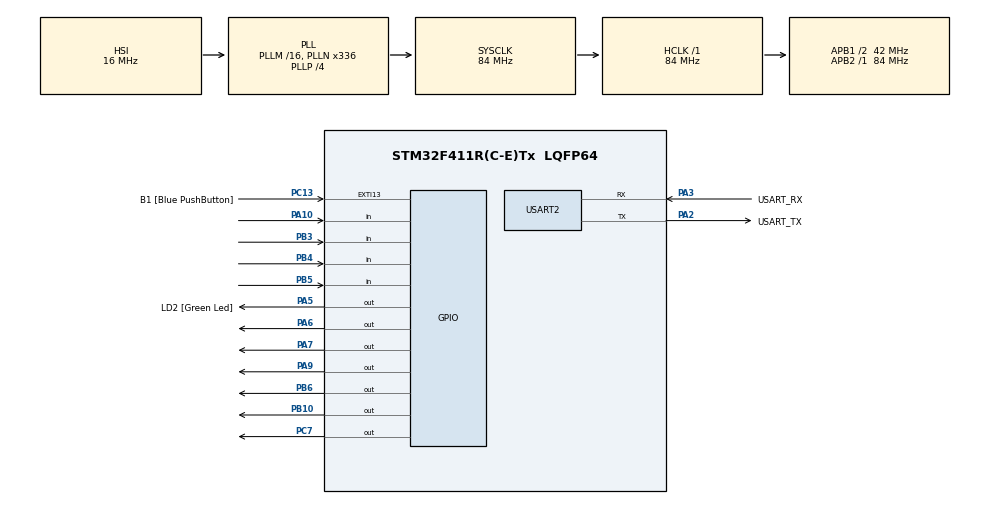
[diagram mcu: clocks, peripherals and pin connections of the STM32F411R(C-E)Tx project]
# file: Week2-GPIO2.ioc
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Mcu.Family=STM32F4
Mcu.Name=STM32F411R(C-E)Tx
Mcu.Package=LQFP64
NVIC.PriorityGroup=NVIC_PRIORITYGROUP_0
PA10.GPIO_PuPd=GPIO_PULLUP
PA10.Signal=GPIO_Input
PA13.GPIO_Label=TMS
PA13.Mode=Serial_Wire
PA13.Signal=SYS_JTMS-SWDIO
PA14.GPIO_Label=TCK
PA14.Mode=Serial_Wire
PA14.Signal=SYS_JTCK-SWCLK
PA2.GPIO_Label=USART_TX
PA2.Mode=Asynchronous
PA2.Signal=USART2_TX
PA3.GPIO_Label=USART_RX
PA3.Mode=Asynchronous
PA3.Signal=USART2_RX
PA5.GPIO_Label=LD2 [Green Led]
PA5.Signal=GPIO_Output
PA6.Signal=GPIO_Output
PA7.GPIO_ModeDefaultOutputPP=GPIO_MODE_OUTPUT_OD
PA7.PinState=GPIO_PIN_SET
PA7.Signal=GPIO_Output
PA9.GPIO_ModeDefaultOutputPP=GPIO_MODE_OUTPUT_OD
PA9.PinState=GPIO_PIN_SET
PA9.Signal=GPIO_Output
PB10.PinState=GPIO_PIN_SET
PB10.Signal=GPIO_Output
PB3.GPIO_PuPd=GPIO_PULLUP
PB3.Signal=GPIO_Input
PB4.GPIO_PuPd=GPIO_PULLUP
PB4.Signal=GPIO_Input
PB5.GPIO_PuPd=GPIO_PULLUP
PB5.Signal=GPIO_Input
PB6.GPIO_ModeDefaultOutputPP=GPIO_MODE_OUTPUT_OD
PB6.PinState=GPIO_PIN_SET
PB6.Signal=GPIO_Output
PC13-ANTI_TAMP.GPIO_Label=B1 [Blue PushButton]
PC13-ANTI_TAMP.GPIO_ModeDefaultEXTI=GPIO_MODE_IT_FALLING
PC13-ANTI_TAMP.Signal=GPXTI13
PC14-OSC32_IN.Mode=LSE-External-Oscillator
PC14-OSC32_IN.Signal=RCC_OSC32_IN
PC15-OSC32_OUT.Mode=LSE-External-Oscillator
PC15-OSC32_OUT.Signal=RCC_OSC32_OUT
PC7.GPIO_ModeDefaultOutputPP=GPIO_MODE_OUTPUT_OD
PC7.PinState=GPIO_PIN_SET
PC7.Signal=GPIO_Output
PH0\ -\ OSC_IN.Mode=HSE-External-Clock-Source
PH0\ -\ OSC_IN.Signal=RCC_OSC_IN
PH1\ -\ OSC_OUT.Mode=HSE-External-Clock-Source
PH1\ -\ OSC_OUT.Signal=RCC_OSC_OUT
ProjectManager.HeapSize=0x200
ProjectManager.StackSize=0x400
ProjectManager.TargetToolchain=STM32CubeIDE
RCC.48MHZClocksFreq_Value=84000000
RCC.AHBFreq_Value=84000000
RCC.APB1CLKDivider=RCC_HCLK_DIV2
RCC.APB1Freq_Value=42000000
RCC.APB1TimFreq_Value=84000000
RCC.APB2Freq_Value=84000000
RCC.APB2TimFreq_Value=84000000
RCC.CortexFreq_Value=84000000
RCC.FLatency-AdvancedSettings=FLASH_LATENCY_2
RCC.HCLKFreq_Value=84000000
RCC.HSE_VALUE=8000000
RCC.HSI_VALUE=16000000
RCC.PLLN=336
RCC.PLLP=RCC_PLLP_DIV4
RCC.SYSCLKFreq_VALUE=84000000
RCC.SYSCLKSource=RCC_SYSCLKSOURCE_PLLCLK
RCC.VCOOutputFreq_Value=336000000
USART2.VirtualMode=VM_ASYNC
board=NUCLEO-F411RE

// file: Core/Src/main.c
/* USER CODE BEGIN Header */
/**
  ******************************************************************************
  * @file           : main.c
  * @brief          : Main program body
  ******************************************************************************
  * @attention
  *
  * <h2><center>&copy; Copyright (c) 2021 STMicroelectronics.
  * All rights reserved.</center></h2>
  *
  * This software component is licensed by ST under BSD 3-Clause license,
  * the "License"; You may not use this file except in compliance with the
  * License. You may obtain a copy of the License at:
  *                        opensource.org/licenses/BSD-3-Clause
  *
  ******************************************************************************
  */
/* USER CODE END Header */
#include "main.h"

UART_HandleTypeDef huart2;

/* USER CODE BEGIN PV */
//save status of Button Matrix
uint16_t ButtonMatrixState = 0;
uint32_t ButtonMatrixTimestamp = 0;
uint32_t delay = 0;
int IdStudent[] = {64,512,1024,16,4096,32,4096,4096,4096,16,1}; //[6,2,3,4,0,5,0,0,0,4,7]
int CountPress = 0;
int Status = 1;
  //StatusLed
/* USER CODE END PV */

void SystemClock_Config(void);
static void MX_GPIO_Init(void);
static void MX_USART2_UART_Init(void);
/* USER CODE BEGIN PFP */
void ButtonMatrixUpdate();
void CheckIDStudent ();
/* USER CODE END PFP */

int main(void)
{

  /* MCU Configuration--------------------------------------------------------*/

  /* Reset of all peripherals, Initializes the Flash interface and the Systick. */
  HAL_Init();

  /* Configure the system clock */
  SystemClock_Config();

  /* Initialize all configured peripherals */
  MX_GPIO_Init();
  MX_USART2_UART_Init();

  /* Infinite loop */
  while (1)
  {

    /* USER CODE BEGIN 3 */
	ButtonMatrixUpdate();

  }
  /* USER CODE END 3 */
}

void SystemClock_Config(void)
{
  RCC_OscInitTypeDef RCC_OscInitStruct = {0};
  RCC_ClkInitTypeDef RCC_ClkInitStruct = {0};

  /** Configure the main internal regulator output voltage
  */
  __HAL_RCC_PWR_CLK_ENABLE();
  __HAL_PWR_VOLTAGESCALING_CONFIG(PWR_REGULATOR_VOLTAGE_SCALE1);
  /** Initializes the RCC Oscillators according to the specified parameters
  * in the RCC_OscInitTypeDef structure.
  */
  RCC_OscInitStruct.OscillatorType = RCC_OSCILLATORTYPE_HSI;
  RCC_OscInitStruct.HSIState = RCC_HSI_ON;
  RCC_OscInitStruct.HSICalibrationValue = RCC_HSICALIBRATION_DEFAULT;
  RCC_OscInitStruct.PLL.PLLState = RCC_PLL_ON;
  RCC_OscInitStruct.PLL.PLLSource = RCC_PLLSOURCE_HSI;
  RCC_OscInitStruct.PLL.PLLM = 16;
  RCC_OscInitStruct.PLL.PLLN = 336;
  RCC_OscInitStruct.PLL.PLLP = RCC_PLLP_DIV4;
  RCC_OscInitStruct.PLL.PLLQ = 4;
  if (HAL_RCC_OscConfig(&RCC_OscInitStruct) != HAL_OK)
  {
    Error_Handler();
  }
  /** Initializes the CPU, AHB and APB buses clocks
  */
  RCC_ClkInitStruct.ClockType = RCC_CLOCKTYPE_HCLK|RCC_CLOCKTYPE_SYSCLK
                              |RCC_CLOCKTYPE_PCLK1|RCC_CLOCKTYPE_PCLK2;
  RCC_ClkInitStruct.SYSCLKSource = RCC_SYSCLKSOURCE_PLLCLK;
  RCC_ClkInitStruct.AHBCLKDivider = RCC_SYSCLK_DIV1;
  RCC_ClkInitStruct.APB1CLKDivider = RCC_HCLK_DIV2;
  RCC_ClkInitStruct.APB2CLKDivider = RCC_HCLK_DIV1;

  if (HAL_RCC_ClockConfig(&RCC_ClkInitStruct, FLASH_LATENCY_2) != HAL_OK)
  {
    Error_Handler();
  }
}

static void MX_USART2_UART_Init(void)
{

  huart2.Instance = USART2;
  huart2.Init.BaudRate = 115200;
  huart2.Init.WordLength = UART_WORDLENGTH_8B;
  huart2.Init.StopBits = UART_STOPBITS_1;
  huart2.Init.Parity = UART_PARITY_NONE;
  huart2.Init.Mode = UART_MODE_TX_RX;
  huart2.Init.HwFlowCtl = UART_HWCONTROL_NONE;
  huart2.Init.OverSampling = UART_OVERSAMPLING_16;
  if (HAL_UART_Init(&huart2) != HAL_OK)
  {
    Error_Handler();
  }

}

static void MX_GPIO_Init(void)
{
  GPIO_InitTypeDef GPIO_InitStruct = {0};

  /* GPIO Ports Clock Enable */
  __HAL_RCC_GPIOC_CLK_ENABLE();
  __HAL_RCC_GPIOH_CLK_ENABLE();
  __HAL_RCC_GPIOA_CLK_ENABLE();
  __HAL_RCC_GPIOB_CLK_ENABLE();

  /*Configure GPIO pin Output Level */
  HAL_GPIO_WritePin(GPIOA, LD2_Pin|GPIO_PIN_6, GPIO_PIN_RESET);

  /*Configure GPIO pin Output Level */
  HAL_GPIO_WritePin(GPIOA, GPIO_PIN_7|GPIO_PIN_9, GPIO_PIN_SET);

  /*Configure GPIO pin Output Level */
  HAL_GPIO_WritePin(GPIOB, GPIO_PIN_10|GPIO_PIN_6, GPIO_PIN_SET);

  /*Configure GPIO pin Output Level */
  HAL_GPIO_WritePin(GPIOC, GPIO_PIN_7, GPIO_PIN_SET);

  /*Configure GPIO pin : B1_Pin */
  GPIO_InitStruct.Pin = B1_Pin;
  GPIO_InitStruct.Mode = GPIO_MODE_IT_FALLING;
  GPIO_InitStruct.Pull = GPIO_NOPULL;
  HAL_GPIO_Init(B1_GPIO_Port, &GPIO_InitStruct);

  /*Configure GPIO pins : LD2_Pin PA6 */
  GPIO_InitStruct.Pin = LD2_Pin|GPIO_PIN_6;
  GPIO_InitStruct.Mode = GPIO_MODE_OUTPUT_PP;
  GPIO_InitStruct.Pull = GPIO_NOPULL;
  GPIO_InitStruct.Speed = GPIO_SPEED_FREQ_LOW;
  HAL_GPIO_Init(GPIOA, &GPIO_InitStruct);

  /*Configure GPIO pins : PA7 PA9 */
  GPIO_InitStruct.Pin = GPIO_PIN_7|GPIO_PIN_9;
  GPIO_InitStruct.Mode = GPIO_MODE_OUTPUT_OD;
  GPIO_InitStruct.Pull = GPIO_NOPULL;
  GPIO_InitStruct.Speed = GPIO_SPEED_FREQ_LOW;
  HAL_GPIO_Init(GPIOA, &GPIO_InitStruct);

  /*Configure GPIO pin : PB10 */
  GPIO_InitStruct.Pin = GPIO_PIN_10;
  GPIO_InitStruct.Mode = GPIO_MODE_OUTPUT_PP;
  GPIO_InitStruct.Pull = GPIO_NOPULL;
  GPIO_InitStruct.Speed = GPIO_SPEED_FREQ_LOW;
  HAL_GPIO_Init(GPIOB, &GPIO_InitStruct);

  /*Configure GPIO pin : PC7 */
  GPIO_InitStruct.Pin = GPIO_PIN_7;
  GPIO_InitStruct.Mode = GPIO_MODE_OUTPUT_OD;
  GPIO_InitStruct.Pull = GPIO_NOPULL;
  GPIO_InitStruct.Speed = GPIO_SPEED_FREQ_LOW;
  HAL_GPIO_Init(GPIOC, &GPIO_InitStruct);

  /*Configure GPIO pin : PA10 */
  GPIO_InitStruct.Pin = GPIO_PIN_10;
  GPIO_InitStruct.Mode = GPIO_MODE_INPUT;
  GPIO_InitStruct.Pull = GPIO_PULLUP;
  HAL_GPIO_Init(GPIOA, &GPIO_InitStruct);

  /*Configure GPIO pins : PB3 PB4 PB5 */
  GPIO_InitStruct.Pin = GPIO_PIN_3|GPIO_PIN_4|GPIO_PIN_5;
  GPIO_InitStruct.Mode = GPIO_MODE_INPUT;
  GPIO_InitStruct.Pull = GPIO_PULLUP;
  HAL_GPIO_Init(GPIOB, &GPIO_InitStruct);

  /*Configure GPIO pin : PB6 */
  GPIO_InitStruct.Pin = GPIO_PIN_6;
  GPIO_InitStruct.Mode = GPIO_MODE_OUTPUT_OD;
  GPIO_InitStruct.Pull = GPIO_NOPULL;
  GPIO_InitStruct.Speed = GPIO_SPEED_FREQ_LOW;
  HAL_GPIO_Init(GPIOB, &GPIO_InitStruct);

}

/* USER CODE BEGIN 4 */
GPIO_TypeDef* ButtonmatrixPort[8] =
{ GPIOA, GPIOB, GPIOB, GPIOB, GPIOA, GPIOC, GPIOB, GPIOA};

uint16_t ButtonMatrixPin[8] =
{ GPIO_PIN_10, GPIO_PIN_3, GPIO_PIN_5, GPIO_PIN_4, GPIO_PIN_9, GPIO_PIN_7, GPIO_PIN_6, GPIO_PIN_7};

uint16_t ButtonMatrixLine = 0;

void ButtonMatrixUpdate()
{
	if(HAL_GetTick() - ButtonMatrixTimestamp >= 100)
	{
		ButtonMatrixTimestamp = HAL_GetTick();
		int i;
		for(i = 0;i<4;++i)
		{ //Scan Button 0-3
			GPIO_PinState Pinstate = HAL_GPIO_ReadPin(ButtonmatrixPort[i], ButtonMatrixPin[i]);
			if(Pinstate == GPIO_PIN_RESET){ // Button Press
				ButtonMatrixState |= (uint16_t)0x1 << (i + ButtonMatrixLine * 4);
				for(int i=CountPress; i<CountPress+1;i++){
					if(IdStudent[i]==ButtonMatrixState){
						CountPress += 1;
						Status += 1;
						break;
					}
					if((IdStudent[i]!=ButtonMatrixState)||(ButtonMatrixState!=0)){
						CountPress += 13;
						break;
					}
				}
				if(Status == 12&&ButtonMatrixState==32768){
					HAL_GPIO_WritePin(GPIOB, GPIO_PIN_10, GPIO_PIN_RESET);
					break;
				}
				if(ButtonMatrixState == 8){
					Status = 1;
					CountPress = 0;
					HAL_GPIO_WritePin(GPIOB, GPIO_PIN_10, GPIO_PIN_SET);
					break;
				}
			}
			else{
				ButtonMatrixState &= ~((uint16_t)0x1 << (i + ButtonMatrixLine * 4));
			}
		}
		uint8_t NowOutputPin = ButtonMatrixLine + 4 ;
		HAL_GPIO_WritePin(ButtonmatrixPort[NowOutputPin], ButtonMatrixPin[NowOutputPin], GPIO_PIN_SET);

		ButtonMatrixLine = (ButtonMatrixLine +1) % 4;

		uint8_t NextOutputPin = ButtonMatrixLine + 4 ;
		HAL_GPIO_WritePin(ButtonmatrixPort[NextOutputPin], ButtonMatrixPin[NextOutputPin], GPIO_PIN_RESET);

	}
}

/* USER CODE END 4 */

void Error_Handler(void)
{
  __disable_irq();
  while (1)
  {
  }
}

/************************ (C) COPYRIGHT STMicroelectronics *****END OF FILE****/
